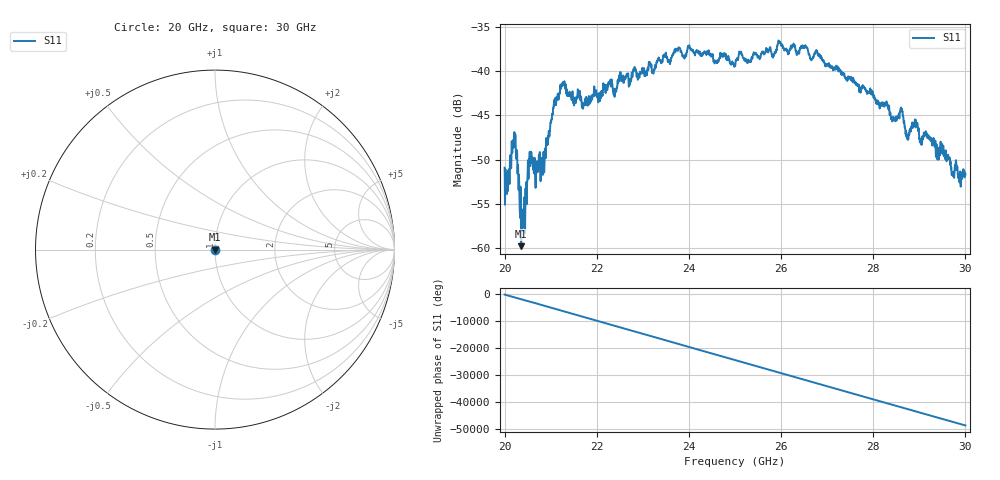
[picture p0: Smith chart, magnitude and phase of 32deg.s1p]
#  HZ  S  RI  R  50.00
! Rohde & Schwarz ZVA40 4Ports - Version 3.90 - 1145.1110k42 SN: 100403
! Date: 2023-10-03 10:38:02
! Measurement: S12
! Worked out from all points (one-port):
!   5001 points, 20 GHz to 30 GHz, reference 50 ohm
!   lowest |S11| = -59.8 dB at 20.36 GHz (marker M1), VSWR 1.00, Z = 50.1 - j0.0377 ohm
!   |S11| at or under -10 dB: start of sweep to end of sweep
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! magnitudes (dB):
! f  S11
! 20 GHz  -50.9
! 20.06 GHz  -52.3
! 20.19 GHz  -47.8
! 20.22 GHz  -48.3
! 20.36 GHz  -59.8
! 20.41 GHz  -56.4
! 20.55 GHz  -49.5
! 20.82 GHz  -50.2
! 21.06 GHz  -44.2
! 21.25 GHz  -41.7
! 21.72 GHz  -43.9
! 22.29 GHz  -41.4
! 22.4 GHz  -42.4
! 22.5 GHz  -41.0
! 23.24 GHz  -39.9
! 23.75 GHz  -37.6
! 25 GHz  -39.4
! 26.25 GHz  -37.1
! 27.5 GHz  -40.8
! 28.3 GHz  -43.8
! 28.43 GHz  -45.6
! 28.6 GHz  -44.1
! 28.75 GHz  -47.6
! 28.92 GHz  -46.2
! 29.04 GHz  -48.0
! 29.5 GHz  -49.3
! 29.72 GHz  -51.6
! 30 GHz  -51.7
